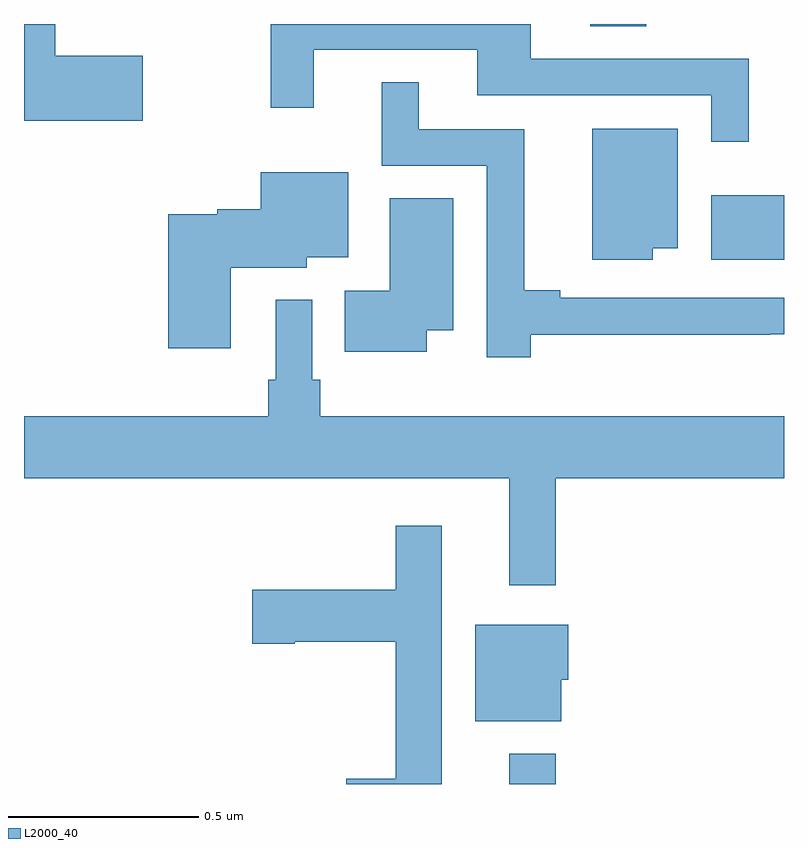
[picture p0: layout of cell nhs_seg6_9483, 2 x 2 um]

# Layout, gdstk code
import gdstk
lib = gdstk.Library(unit=1e-6, precision=1e-09)
def R(c, l, rs):  # rectangles x0, y0, x1, y1
    for r in rs: c.add(gdstk.rectangle(r[:2], r[2:], *l))
def P(c, l, *ps):  # polygons
    for p in ps: c.add(gdstk.Polygon(p, *l))
L2000_40 = (2000, 40)

nhs_seg6_9483 = lib.new_cell('nhs_seg6_9483')
R(nhs_seg6_9483, L2000_40, [(235.277,978.5,235.399,978.58), (235.808,979.88,236,980.05), (235.49,980.494,235.638,980.5)])
P(nhs_seg6_9483, L2000_40, [(235.907,980.409),(235.333,980.409),(235.333,980.5),(234.649,980.5),(234.649,980.28),(234.763,980.28),(234.763,980.432),(235.193,980.432),(235.193,980.313),(235.809,980.313),(235.809,980.19),(235.907,980.19)],
  [(234.313,980.416),(234.082,980.416),(234.082,980.5),(234,980.5),(234,980.246),(234.313,980.246)],
  [(235.334,979.682),(235.964,979.682),(235.964,979.683),(236,979.683),(236,979.779),(235.411,979.779),(235.411,979.799),(235.316,979.799),(235.316,980.223),(235.039,980.223),(235.039,980.347),(234.941,980.347),(234.941,980.127),(235.218,980.127),(235.218,979.623),(235.334,979.623)],
  [(235.654,979.91),(235.72,979.91),(235.72,980.224),(235.496,980.224),(235.496,979.88),(235.654,979.88)],
  [(234.544,979.859),(234.744,979.859),(234.744,979.886),(234.853,979.886),(234.853,980.11),(234.623,980.11),(234.623,980.012),(234.509,980.012),(234.509,979.999),(234.379,979.999),(234.379,979.647),(234.544,979.647)],
  [(235.06,979.694),(235.129,979.694),(235.129,980.042),(234.962,980.042),(234.962,979.798),(234.844,979.798),(234.844,979.637),(235.06,979.637)],
  [(235.399,979.304),(236,979.304),(236,979.468),(234.779,979.468),(234.779,979.564),(234.759,979.564),(234.759,979.774),(234.663,979.774),(234.663,979.564),(234.643,979.564),(234.643,979.468),(234,979.468),(234,979.304),(235.277,979.304),(235.277,979.023),(235.399,979.023)],
  [(235.099,979.18),(234.978,979.18),(234.978,979.011),(234.6,979.011),(234.6,978.869),(234.712,978.869),(234.712,978.874),(234.978,978.874),(234.978,978.514),(234.848,978.514),(234.848,978.5),(235.099,978.5)],
  [(235.414,978.774),(235.432,978.774),(235.432,978.919),(235.187,978.919),(235.187,978.665),(235.414,978.665)])

lib.write_gds('nhs_seg6_9483.gds')
